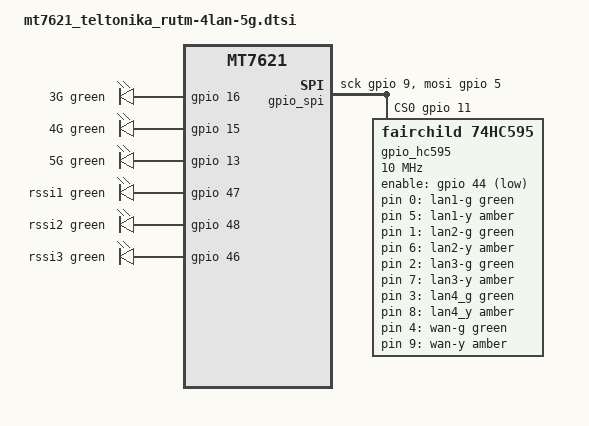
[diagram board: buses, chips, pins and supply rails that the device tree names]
// SPDX-License-Identifier: GPL-2.0-or-later OR MIT

#include "mt7621_teltonika_rutm-common.dtsi"

/ {
	gpio_spi {
		compatible = "spi-gpio";
		#address-cells = <1>;
		#size-cells = <0>;

		sck-gpios = <&gpio 9 GPIO_ACTIVE_HIGH>;
		mosi-gpios = <&gpio 5 GPIO_ACTIVE_HIGH>;
		cs-gpios = <&gpio 11 GPIO_ACTIVE_HIGH>;
		num-chipselects = <1>;

		gpio_hc595: gpio_hc595@0 {
			compatible = "fairchild,74hc595";
			reg = <0>;
			gpio-controller;
			#gpio-cells = <2>;
			registers-number = <2>;
			spi-max-frequency = <10000000>;
			enable-gpios = <&gpio 44 GPIO_ACTIVE_LOW>;
		};
	};

	leds {
		3G {
			function = "3G";
			color = <LED_COLOR_ID_GREEN>;
			gpios = <&gpio 16 GPIO_ACTIVE_HIGH>;
		};

		4G {
			function = "4G";
			color = <LED_COLOR_ID_GREEN>;
			gpios = <&gpio 15 GPIO_ACTIVE_HIGH>;
		};

		5G {
			function = "5G";
			color = <LED_COLOR_ID_GREEN>;
			gpios = <&gpio 13 GPIO_ACTIVE_HIGH>;
		};

		rssi1 {
			function = "rssi-1";
			color = <LED_COLOR_ID_GREEN>;
			gpios = <&gpio 47 GPIO_ACTIVE_HIGH>;
		};

		rssi2 {
			function = "rssi-2";
			color = <LED_COLOR_ID_GREEN>;
			gpios = <&gpio 48 GPIO_ACTIVE_HIGH>;
		};

		rssi3 {
			function = "rssi-3";
			color = <LED_COLOR_ID_GREEN>;
			gpios = <&gpio 46 GPIO_ACTIVE_HIGH>;
		};

		lan1-g {
			function = LED_FUNCTION_LAN;
			color = <LED_COLOR_ID_GREEN>;
			function-enumerator = <1>;
			gpios = <&gpio_hc595 0 GPIO_ACTIVE_HIGH>;
			linux,default-trigger = "mt7530-0:00:1Gbps";
		};

		lan1-y {
			function = LED_FUNCTION_LAN;
			color = <LED_COLOR_ID_AMBER>;
			function-enumerator = <1>;
			gpios = <&gpio_hc595 5 GPIO_ACTIVE_HIGH>;
			linux,default-trigger = "mt7530-0:00:100Mbps";
		};

		lan2-g {
			function = LED_FUNCTION_LAN;
			color = <LED_COLOR_ID_GREEN>;
			function-enumerator = <2>;
			gpios = <&gpio_hc595 1 GPIO_ACTIVE_HIGH>;
			linux,default-trigger = "mt7530-0:01:1Gbps";
		};

		lan2-y {
			function = LED_FUNCTION_LAN;
			color = <LED_COLOR_ID_AMBER>;
			function-enumerator = <2>;
			gpios = <&gpio_hc595 6 GPIO_ACTIVE_HIGH>;
			linux,default-trigger = "mt7530-0:01:100Mbps";
		};

		lan3-g {
			function = LED_FUNCTION_LAN;
			color = <LED_COLOR_ID_GREEN>;
			function-enumerator = <3>;
			gpios = <&gpio_hc595 2 GPIO_ACTIVE_HIGH>;
			linux,default-trigger = "mt7530-0:02:1Gbps";
		};

		lan3-y {
			function = LED_FUNCTION_LAN;
			color = <LED_COLOR_ID_AMBER>;
			function-enumerator = <3>;
			gpios = <&gpio_hc595 7 GPIO_ACTIVE_HIGH>;
			linux,default-trigger = "mt7530-0:02:100Mbps";
		};

		lan4_g: lan4-g {
			function = LED_FUNCTION_LAN;
			color = <LED_COLOR_ID_GREEN>;
			function-enumerator = <4>;
			gpios = <&gpio_hc595 3 GPIO_ACTIVE_HIGH>;
			linux,default-trigger = "mt7530-0:03:1Gbps";
		};

		lan4_y: lan4-y {
			function = LED_FUNCTION_LAN;
			color = <LED_COLOR_ID_AMBER>;
			function-enumerator = <4>;
			gpios = <&gpio_hc595 8 GPIO_ACTIVE_HIGH>;
			linux,default-trigger = "mt7530-0:03:100Mbps";
		};

		wan-g {
			function = LED_FUNCTION_WAN;
			color = <LED_COLOR_ID_GREEN>;
			gpios = <&gpio_hc595 4 GPIO_ACTIVE_HIGH>;
			linux,default-trigger = "mt7530-0:04:1Gbps";
		};

		wan-y {
			function = LED_FUNCTION_WAN;
			color = <LED_COLOR_ID_AMBER>;
			gpios = <&gpio_hc595 9 GPIO_ACTIVE_HIGH>;
			linux,default-trigger = "mt7530-0:04:100Mbps";
		};
	};
};

&switch0 {
	ports {
		port@0 {
			status = "okay";
			label = "lan1";
		};

		port@1 {
			status = "okay";
			label = "lan2";
		};

		port@2 {
			status = "okay";
			label = "lan3";
		};

		port@3 {
			status = "okay";
			label = "lan4";
		};
	};
};
